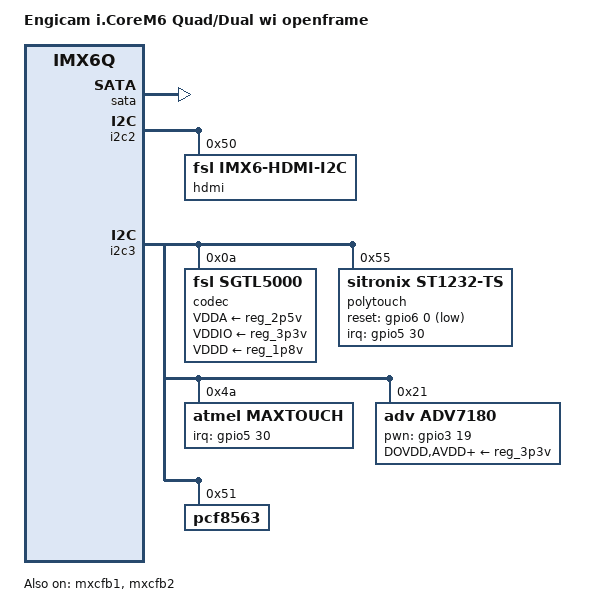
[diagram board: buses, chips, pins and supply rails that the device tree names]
/*
 * Copyright (C) 2013 Freescale Semiconductor, Inc.
 *
 * This program is free software; you can redistribute it and/or modify
 * it under the terms of the GNU General Public License version 2 as
 * published by the Free Software Foundation.
 */

/dts-v1/;

#include <dt-bindings/gpio/gpio.h>
#include "imx6q.dtsi"
#include "imx6qdl-icore.dtsi"

/ {
	model = "Engicam i.CoreM6 Quad/Dual wi openframe";
	compatible = "fsl,imx6-icore", "fsl,imx6q";
};

&ldb {
	ipu_id = <0>;
	sec_ipu_id = <0>;
};

&mxcfb1 {
	status = "okay";
};

&mxcfb2 {
	status = "okay";
};

&sata {
	status = "okay";
};

/* To be enabled for PCI peripheral.
   Please enable also the PCI support kernel options:
   CONFIG_PCI and PCI_IMX6
&pcie {
	status = "okay";
};
*/

&i2c2 {

	hdmi: edid@50 {
		compatible = "fsl,imx6-hdmi-i2c";
		reg = <0x50>;
	};
};

 &i2c3 {

	codec: sgtl5000@0a {
		compatible = "fsl,sgtl5000";
		reg = <0x0a>;
		clocks = <&clks 201>;
		VDDA-supply = <&reg_2p5v>;
		VDDIO-supply = <&reg_3p3v>;
		VDDD-supply = <&reg_1p8v>;
	};

	polytouch: st1232_ts@55 {
		compatible = "sitronix,st1232-ts";
		reg = <0x55>;
		pinctrl-names = "default";		
		pinctrl-0 = <&pinctrl_st1232_ts>;
		interrupt-parent = <&gpio5>;
		interrupts = <30 0>;	
		reset-gpios = <&gpio6 0 1>;
		// Different setting for Ampire/URT
		// invert_y = <0>; for Ampire  LCD 
		// invert_y = <1>; for URT  LCD 
		invert_y = <0>;
	};


	// New touch 4.3" AVD
	maxtouch@4a {
		compatible = "atmel,maxtouch";
		reg = <0x4a>;
		pinctrl-names = "default";		
		pinctrl-0 = <&pinctrl_maxtouch_ts>;
		interrupt-parent = <&gpio5>;
		interrupts = <30 0>;	
	};

	adv7180: adv7180@21 {
		compatible = "adv,adv7180";
		reg = <0x21>;
		pinctrl-names = "default";
		pinctrl-0 = <&pinctrl_ipu1_6>;
		clocks = <&clks 201>;
		clock-names = "csi_mclk";
		DOVDD-supply = <&reg_3p3v>; /* 3.3v, enabled via 2.8 VGEN6 */
		AVDD-supply = <&reg_3p3v>;  /* 1.8v */
		DVDD-supply = <&reg_3p3v>;  /* 1.8v */
		PVDD-supply = <&reg_3p3v>;  /* 1.8v */
		pwn-gpios = <&gpio3 19 0>;  /* put on not used pin */
		csi_id = <0>;
		mclk = <24000000>;
		mclk_source = <0>;
		cvbs = <1>;
	};
	
	// Optional RTC
	pcf8563: rtc@51 {
		compatible = "pcf8563";
		reg = <0x51>;
	};

};

&iomuxc {
	pinctrl-names = "default";
	pinctrl-0 = <&pinctrl_hog2>;
	pinctrl-assert-gpios = <&gpio1 2 GPIO_ACTIVE_HIGH>;
	
	hog {
		pinctrl_hog2: hoggrp {
			fsl,pins = <
				MX6QDL_PAD_GPIO_2__GPIO1_IO02 0x1f059
				MX6QDL_PAD_EIM_D19__GPIO3_IO19 0x1f059 /* not used pin for ADV7180 driver compatibility */
			>;
		};
	};
};


&iomuxc {
	touchpanel{
		pinctrl_st1232_ts:  st1232-tsgrp  {
			fsl,pins = <
				MX6QDL_PAD_CSI0_DAT12__GPIO5_IO30 0x1b0b0 /*interrupt*/ 
				MX6QDL_PAD_CSI0_DAT14__GPIO6_IO00 0x1b0b0 /*reset edt*/
			>;
		};
	};
};

&iomuxc {
	touchpanel{
		pinctrl_maxtouch_ts:  maxtouch-tsgrp  {
			fsl,pins = <
				MX6QDL_PAD_CSI0_DAT12__GPIO5_IO30 0x1b0b0 /*interrupt*/ 
			>;
		};
	};
};
